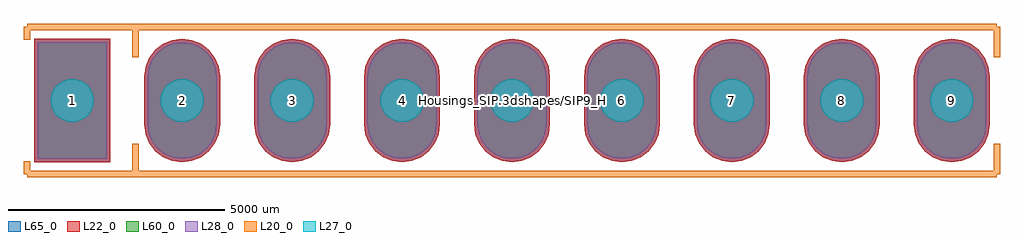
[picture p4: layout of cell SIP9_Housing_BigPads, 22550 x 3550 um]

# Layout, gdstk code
import gdstk
lib = gdstk.Library(unit=1e-6, precision=1e-09)
def R(c, l, rs):  # rectangles x0, y0, x1, y1
    for r in rs: c.add(gdstk.rectangle(r[:2], r[2:], *l))
def P(c, l, *ps):  # polygons
    for p in ps: c.add(gdstk.Polygon(p, *l))
L20_0 = (20, 0)
L22_0 = (22, 0)
L27_0 = (27, 0)
L28_0 = (28, 0)
L60_0 = (60, 0)
L65_0 = (65, 0)

sip9_housing_bigpads = lib.new_cell('SIP9_Housing_BigPads')
R(sip9_housing_bigpads, L22_0, [(-11035,-1425,-9285,1425)])
P(sip9_housing_bigpads, L22_0, [(10160,-1425),(10386.467,-1395.185),(10597.5,-1307.772),(10778.718,-1168.718),(10917.772,-987.5),(11005.185,-776.467),(11035,-550),(11035,550),(11005.185,776.467),(10917.772,987.5),(10778.718,1168.718),(10597.5,1307.772),(10386.467,1395.185),(10160,1425),(9933.533,1395.185),(9722.5,1307.772),(9541.282,1168.718),(9402.228,987.5),(9314.815,776.467),(9285,550),(9285,-550),(9314.815,-776.467),(9402.228,-987.5),(9541.282,-1168.718),(9722.5,-1307.772),(9933.533,-1395.185)],
  [(7620,-1425),(7846.467,-1395.185),(8057.5,-1307.772),(8238.718,-1168.718),(8377.772,-987.5),(8465.185,-776.467),(8495,-550),(8495,550),(8465.185,776.467),(8377.772,987.5),(8238.718,1168.718),(8057.5,1307.772),(7846.467,1395.185),(7620,1425),(7393.533,1395.185),(7182.5,1307.772),(7001.282,1168.718),(6862.228,987.5),(6774.815,776.467),(6745,550),(6745,-550),(6774.815,-776.467),(6862.228,-987.5),(7001.282,-1168.718),(7182.5,-1307.772),(7393.533,-1395.185)],
  [(5080,-1425),(5306.467,-1395.185),(5517.5,-1307.772),(5698.718,-1168.718),(5837.772,-987.5),(5925.185,-776.467),(5955,-550),(5955,550),(5925.185,776.467),(5837.772,987.5),(5698.718,1168.718),(5517.5,1307.772),(5306.467,1395.185),(5080,1425),(4853.533,1395.185),(4642.5,1307.772),(4461.282,1168.718),(4322.228,987.5),(4234.815,776.467),(4205,550),(4205,-550),(4234.815,-776.467),(4322.228,-987.5),(4461.282,-1168.718),(4642.5,-1307.772),(4853.533,-1395.185)],
  [(2540,-1425),(2766.467,-1395.185),(2977.5,-1307.772),(3158.718,-1168.718),(3297.772,-987.5),(3385.185,-776.467),(3415,-550),(3415,550),(3385.185,776.467),(3297.772,987.5),(3158.718,1168.718),(2977.5,1307.772),(2766.467,1395.185),(2540,1425),(2313.533,1395.185),(2102.5,1307.772),(1921.282,1168.718),(1782.228,987.5),(1694.815,776.467),(1665,550),(1665,-550),(1694.815,-776.467),(1782.228,-987.5),(1921.282,-1168.718),(2102.5,-1307.772),(2313.533,-1395.185)],
  [(0,-1425),(226.467,-1395.185),(437.5,-1307.772),(618.718,-1168.718),(757.772,-987.5),(845.185,-776.467),(875,-550),(875,550),(845.185,776.467),(757.772,987.5),(618.718,1168.718),(437.5,1307.772),(226.467,1395.185),(0,1425),(-226.467,1395.185),(-437.5,1307.772),(-618.718,1168.718),(-757.772,987.5),(-845.185,776.467),(-875,550),(-875,-550),(-845.185,-776.467),(-757.772,-987.5),(-618.718,-1168.718),(-437.5,-1307.772),(-226.467,-1395.185)],
  [(-2540,-1425),(-2313.533,-1395.185),(-2102.5,-1307.772),(-1921.282,-1168.718),(-1782.228,-987.5),(-1694.815,-776.467),(-1665,-550),(-1665,550),(-1694.815,776.467),(-1782.228,987.5),(-1921.282,1168.718),(-2102.5,1307.772),(-2313.533,1395.185),(-2540,1425),(-2766.467,1395.185),(-2977.5,1307.772),(-3158.718,1168.718),(-3297.772,987.5),(-3385.185,776.467),(-3415,550),(-3415,-550),(-3385.185,-776.467),(-3297.772,-987.5),(-3158.718,-1168.718),(-2977.5,-1307.772),(-2766.467,-1395.185)],
  [(-5080,-1425),(-4853.533,-1395.185),(-4642.5,-1307.772),(-4461.282,-1168.718),(-4322.228,-987.5),(-4234.815,-776.467),(-4205,-550),(-4205,550),(-4234.815,776.467),(-4322.228,987.5),(-4461.282,1168.718),(-4642.5,1307.772),(-4853.533,1395.185),(-5080,1425),(-5306.467,1395.185),(-5517.5,1307.772),(-5698.718,1168.718),(-5837.772,987.5),(-5925.185,776.467),(-5955,550),(-5955,-550),(-5925.185,-776.467),(-5837.772,-987.5),(-5698.718,-1168.718),(-5517.5,-1307.772),(-5306.467,-1395.185)],
  [(-7620,-1425),(-7393.533,-1395.185),(-7182.5,-1307.772),(-7001.282,-1168.718),(-6862.228,-987.5),(-6774.815,-776.467),(-6745,-550),(-6745,550),(-6774.815,776.467),(-6862.228,987.5),(-7001.282,1168.718),(-7182.5,1307.772),(-7393.533,1395.185),(-7620,1425),(-7846.467,1395.185),(-8057.5,1307.772),(-8238.718,1168.718),(-8377.772,987.5),(-8465.185,776.467),(-8495,550),(-8495,-550),(-8465.185,-776.467),(-8377.772,-987.5),(-8238.718,-1168.718),(-8057.5,-1307.772),(-7846.467,-1395.185)])
P(sip9_housing_bigpads, L27_0, [(10659.999,0),(10650.392,97.545),(10621.939,191.341),(10575.734,277.785),(10513.553,353.553),(10437.785,415.734),(10351.341,461.939),(10257.545,490.392),(10160,499.999),(10062.455,490.392),(9968.659,461.939),(9882.215,415.734),(9806.447,353.553),(9744.266,277.785),(9698.061,191.341),(9669.608,97.545),(9660.001,0),(9669.608,-97.545),(9698.061,-191.341),(9744.266,-277.785),(9806.447,-353.553),(9882.215,-415.734),(9968.659,-461.939),(10062.455,-490.392),(10160,-499.999),(10257.545,-490.392),(10351.341,-461.939),(10437.785,-415.734),(10513.553,-353.553),(10575.734,-277.785),(10621.939,-191.341),(10650.392,-97.545)],
  [(8119.999,0),(8110.392,97.545),(8081.939,191.341),(8035.734,277.785),(7973.553,353.553),(7897.785,415.734),(7811.341,461.939),(7717.545,490.392),(7620,499.999),(7522.455,490.392),(7428.659,461.939),(7342.215,415.734),(7266.447,353.553),(7204.266,277.785),(7158.061,191.341),(7129.608,97.545),(7120.001,0),(7129.608,-97.545),(7158.061,-191.341),(7204.266,-277.785),(7266.447,-353.553),(7342.215,-415.734),(7428.659,-461.939),(7522.455,-490.392),(7620,-499.999),(7717.545,-490.392),(7811.341,-461.939),(7897.785,-415.734),(7973.553,-353.553),(8035.734,-277.785),(8081.939,-191.341),(8110.392,-97.545)],
  [(5579.999,0),(5570.392,97.545),(5541.939,191.341),(5495.734,277.785),(5433.553,353.553),(5357.785,415.734),(5271.341,461.939),(5177.545,490.392),(5080,499.999),(4982.455,490.392),(4888.659,461.939),(4802.215,415.734),(4726.447,353.553),(4664.266,277.785),(4618.061,191.341),(4589.608,97.545),(4580.001,0),(4589.608,-97.545),(4618.061,-191.341),(4664.266,-277.785),(4726.447,-353.553),(4802.215,-415.734),(4888.659,-461.939),(4982.455,-490.392),(5080,-499.999),(5177.545,-490.392),(5271.341,-461.939),(5357.785,-415.734),(5433.553,-353.553),(5495.734,-277.785),(5541.939,-191.341),(5570.392,-97.545)],
  [(3039.999,0),(3030.392,97.545),(3001.939,191.341),(2955.734,277.785),(2893.553,353.553),(2817.785,415.734),(2731.341,461.939),(2637.545,490.392),(2540,499.999),(2442.455,490.392),(2348.659,461.939),(2262.215,415.734),(2186.447,353.553),(2124.266,277.785),(2078.061,191.341),(2049.608,97.545),(2040.001,0),(2049.608,-97.545),(2078.061,-191.341),(2124.266,-277.785),(2186.447,-353.553),(2262.215,-415.734),(2348.659,-461.939),(2442.455,-490.392),(2540,-499.999),(2637.545,-490.392),(2731.341,-461.939),(2817.785,-415.734),(2893.553,-353.553),(2955.734,-277.785),(3001.939,-191.341),(3030.392,-97.545)],
  [(499.999,0),(490.392,97.545),(461.939,191.341),(415.734,277.785),(353.553,353.553),(277.785,415.734),(191.341,461.939),(97.545,490.392),(0,499.999),(-97.545,490.392),(-191.341,461.939),(-277.785,415.734),(-353.553,353.553),(-415.734,277.785),(-461.939,191.341),(-490.392,97.545),(-499.999,0),(-490.392,-97.545),(-461.939,-191.341),(-415.734,-277.785),(-353.553,-353.553),(-277.785,-415.734),(-191.341,-461.939),(-97.545,-490.392),(0,-499.999),(97.545,-490.392),(191.341,-461.939),(277.785,-415.734),(353.553,-353.553),(415.734,-277.785),(461.939,-191.341),(490.392,-97.545)],
  [(-2040.001,0),(-2049.608,97.545),(-2078.061,191.341),(-2124.266,277.785),(-2186.447,353.553),(-2262.215,415.734),(-2348.659,461.939),(-2442.455,490.392),(-2540,499.999),(-2637.545,490.392),(-2731.341,461.939),(-2817.785,415.734),(-2893.553,353.553),(-2955.734,277.785),(-3001.939,191.341),(-3030.392,97.545),(-3039.999,0),(-3030.392,-97.545),(-3001.939,-191.341),(-2955.734,-277.785),(-2893.553,-353.553),(-2817.785,-415.734),(-2731.341,-461.939),(-2637.545,-490.392),(-2540,-499.999),(-2442.455,-490.392),(-2348.659,-461.939),(-2262.215,-415.734),(-2186.447,-353.553),(-2124.266,-277.785),(-2078.061,-191.341),(-2049.608,-97.545)],
  [(-4580.001,0),(-4589.608,97.545),(-4618.061,191.341),(-4664.266,277.785),(-4726.447,353.553),(-4802.215,415.734),(-4888.659,461.939),(-4982.455,490.392),(-5080,499.999),(-5177.545,490.392),(-5271.341,461.939),(-5357.785,415.734),(-5433.553,353.553),(-5495.734,277.785),(-5541.939,191.341),(-5570.392,97.545),(-5579.999,0),(-5570.392,-97.545),(-5541.939,-191.341),(-5495.734,-277.785),(-5433.553,-353.553),(-5357.785,-415.734),(-5271.341,-461.939),(-5177.545,-490.392),(-5080,-499.999),(-4982.455,-490.392),(-4888.659,-461.939),(-4802.215,-415.734),(-4726.447,-353.553),(-4664.266,-277.785),(-4618.061,-191.341),(-4589.608,-97.545)],
  [(-7120.001,0),(-7129.608,97.545),(-7158.061,191.341),(-7204.266,277.785),(-7266.447,353.553),(-7342.215,415.734),(-7428.659,461.939),(-7522.455,490.392),(-7620,499.999),(-7717.545,490.392),(-7811.341,461.939),(-7897.785,415.734),(-7973.553,353.553),(-8035.734,277.785),(-8081.939,191.341),(-8110.392,97.545),(-8119.999,0),(-8110.392,-97.545),(-8081.939,-191.341),(-8035.734,-277.785),(-7973.553,-353.553),(-7897.785,-415.734),(-7811.341,-461.939),(-7717.545,-490.392),(-7620,-499.999),(-7522.455,-490.392),(-7428.659,-461.939),(-7342.215,-415.734),(-7266.447,-353.553),(-7204.266,-277.785),(-7158.061,-191.341),(-7129.608,-97.545)],
  [(-9660.001,0),(-9669.608,97.545),(-9698.061,191.341),(-9744.266,277.785),(-9806.447,353.553),(-9882.215,415.734),(-9968.659,461.939),(-10062.455,490.392),(-10160,499.999),(-10257.545,490.392),(-10351.341,461.939),(-10437.785,415.734),(-10513.553,353.553),(-10575.734,277.785),(-10621.939,191.341),(-10650.392,97.545),(-10659.999,0),(-10650.392,-97.545),(-10621.939,-191.341),(-10575.734,-277.785),(-10513.553,-353.553),(-10437.785,-415.734),(-10351.341,-461.939),(-10257.545,-490.392),(-10160,-499.999),(-10062.455,-490.392),(-9968.659,-461.939),(-9882.215,-415.734),(-9806.447,-353.553),(-9744.266,-277.785),(-9698.061,-191.341),(-9669.608,-97.545)])
R(sip9_housing_bigpads, L28_0, [(-10960,-1350,-9360,1350)])
P(sip9_housing_bigpads, L28_0, [(10160,-1350),(10367.055,-1322.741),(10560,-1242.82),(10725.685,-1115.685),(10852.82,-950),(10932.741,-757.055),(10960,-550),(10960,550),(10932.741,757.055),(10852.82,950),(10725.685,1115.685),(10560,1242.82),(10367.055,1322.741),(10160,1350),(9952.945,1322.741),(9760,1242.82),(9594.315,1115.685),(9467.18,950),(9387.259,757.055),(9360,550),(9360,-550),(9387.259,-757.055),(9467.18,-950),(9594.315,-1115.685),(9760,-1242.82),(9952.945,-1322.741)],
  [(7620,-1350),(7827.055,-1322.741),(8020,-1242.82),(8185.685,-1115.685),(8312.82,-950),(8392.741,-757.055),(8420,-550),(8420,550),(8392.741,757.055),(8312.82,950),(8185.685,1115.685),(8020,1242.82),(7827.055,1322.741),(7620,1350),(7412.945,1322.741),(7220,1242.82),(7054.315,1115.685),(6927.18,950),(6847.259,757.055),(6820,550),(6820,-550),(6847.259,-757.055),(6927.18,-950),(7054.315,-1115.685),(7220,-1242.82),(7412.945,-1322.741)],
  [(5080,-1350),(5287.055,-1322.741),(5480,-1242.82),(5645.685,-1115.685),(5772.82,-950),(5852.741,-757.055),(5880,-550),(5880,550),(5852.741,757.055),(5772.82,950),(5645.685,1115.685),(5480,1242.82),(5287.055,1322.741),(5080,1350),(4872.945,1322.741),(4680,1242.82),(4514.315,1115.685),(4387.18,950),(4307.259,757.055),(4280,550),(4280,-550),(4307.259,-757.055),(4387.18,-950),(4514.315,-1115.685),(4680,-1242.82),(4872.945,-1322.741)],
  [(2540,-1350),(2747.055,-1322.741),(2940,-1242.82),(3105.685,-1115.685),(3232.82,-950),(3312.741,-757.055),(3340,-550),(3340,550),(3312.741,757.055),(3232.82,950),(3105.685,1115.685),(2940,1242.82),(2747.055,1322.741),(2540,1350),(2332.945,1322.741),(2140,1242.82),(1974.315,1115.685),(1847.18,950),(1767.259,757.055),(1740,550),(1740,-550),(1767.259,-757.055),(1847.18,-950),(1974.315,-1115.685),(2140,-1242.82),(2332.945,-1322.741)],
  [(0,-1350),(207.055,-1322.741),(400,-1242.82),(565.685,-1115.685),(692.82,-950),(772.741,-757.055),(800,-550),(800,550),(772.741,757.055),(692.82,950),(565.685,1115.685),(400,1242.82),(207.055,1322.741),(0,1350),(-207.055,1322.741),(-400,1242.82),(-565.685,1115.685),(-692.82,950),(-772.741,757.055),(-800,550),(-800,-550),(-772.741,-757.055),(-692.82,-950),(-565.685,-1115.685),(-400,-1242.82),(-207.055,-1322.741)],
  [(-2540,-1350),(-2332.945,-1322.741),(-2140,-1242.82),(-1974.315,-1115.685),(-1847.18,-950),(-1767.259,-757.055),(-1740,-550),(-1740,550),(-1767.259,757.055),(-1847.18,950),(-1974.315,1115.685),(-2140,1242.82),(-2332.945,1322.741),(-2540,1350),(-2747.055,1322.741),(-2940,1242.82),(-3105.685,1115.685),(-3232.82,950),(-3312.741,757.055),(-3340,550),(-3340,-550),(-3312.741,-757.055),(-3232.82,-950),(-3105.685,-1115.685),(-2940,-1242.82),(-2747.055,-1322.741)],
  [(-5080,-1350),(-4872.945,-1322.741),(-4680,-1242.82),(-4514.315,-1115.685),(-4387.18,-950),(-4307.259,-757.055),(-4280,-550),(-4280,550),(-4307.259,757.055),(-4387.18,950),(-4514.315,1115.685),(-4680,1242.82),(-4872.945,1322.741),(-5080,1350),(-5287.055,1322.741),(-5480,1242.82),(-5645.685,1115.685),(-5772.82,950),(-5852.741,757.055),(-5880,550),(-5880,-550),(-5852.741,-757.055),(-5772.82,-950),(-5645.685,-1115.685),(-5480,-1242.82),(-5287.055,-1322.741)],
  [(-7620,-1350),(-7412.945,-1322.741),(-7220,-1242.82),(-7054.315,-1115.685),(-6927.18,-950),(-6847.259,-757.055),(-6820,-550),(-6820,550),(-6847.259,757.055),(-6927.18,950),(-7054.315,1115.685),(-7220,1242.82),(-7412.945,1322.741),(-7620,1350),(-7827.055,1322.741),(-8020,1242.82),(-8185.685,1115.685),(-8312.82,950),(-8392.741,757.055),(-8420,550),(-8420,-550),(-8392.741,-757.055),(-8312.82,-950),(-8185.685,-1115.685),(-8020,-1242.82),(-7827.055,-1322.741)])
R(sip9_housing_bigpads, L60_0, [(-10960,-1350,-9360,1350)])
P(sip9_housing_bigpads, L60_0, [(10160,-1350),(10367.055,-1322.741),(10560,-1242.82),(10725.685,-1115.685),(10852.82,-950),(10932.741,-757.055),(10960,-550),(10960,550),(10932.741,757.055),(10852.82,950),(10725.685,1115.685),(10560,1242.82),(10367.055,1322.741),(10160,1350),(9952.945,1322.741),(9760,1242.82),(9594.315,1115.685),(9467.18,950),(9387.259,757.055),(9360,550),(9360,-550),(9387.259,-757.055),(9467.18,-950),(9594.315,-1115.685),(9760,-1242.82),(9952.945,-1322.741)],
  [(7620,-1350),(7827.055,-1322.741),(8020,-1242.82),(8185.685,-1115.685),(8312.82,-950),(8392.741,-757.055),(8420,-550),(8420,550),(8392.741,757.055),(8312.82,950),(8185.685,1115.685),(8020,1242.82),(7827.055,1322.741),(7620,1350),(7412.945,1322.741),(7220,1242.82),(7054.315,1115.685),(6927.18,950),(6847.259,757.055),(6820,550),(6820,-550),(6847.259,-757.055),(6927.18,-950),(7054.315,-1115.685),(7220,-1242.82),(7412.945,-1322.741)],
  [(5080,-1350),(5287.055,-1322.741),(5480,-1242.82),(5645.685,-1115.685),(5772.82,-950),(5852.741,-757.055),(5880,-550),(5880,550),(5852.741,757.055),(5772.82,950),(5645.685,1115.685),(5480,1242.82),(5287.055,1322.741),(5080,1350),(4872.945,1322.741),(4680,1242.82),(4514.315,1115.685),(4387.18,950),(4307.259,757.055),(4280,550),(4280,-550),(4307.259,-757.055),(4387.18,-950),(4514.315,-1115.685),(4680,-1242.82),(4872.945,-1322.741)],
  [(2540,-1350),(2747.055,-1322.741),(2940,-1242.82),(3105.685,-1115.685),(3232.82,-950),(3312.741,-757.055),(3340,-550),(3340,550),(3312.741,757.055),(3232.82,950),(3105.685,1115.685),(2940,1242.82),(2747.055,1322.741),(2540,1350),(2332.945,1322.741),(2140,1242.82),(1974.315,1115.685),(1847.18,950),(1767.259,757.055),(1740,550),(1740,-550),(1767.259,-757.055),(1847.18,-950),(1974.315,-1115.685),(2140,-1242.82),(2332.945,-1322.741)],
  [(0,-1350),(207.055,-1322.741),(400,-1242.82),(565.685,-1115.685),(692.82,-950),(772.741,-757.055),(800,-550),(800,550),(772.741,757.055),(692.82,950),(565.685,1115.685),(400,1242.82),(207.055,1322.741),(0,1350),(-207.055,1322.741),(-400,1242.82),(-565.685,1115.685),(-692.82,950),(-772.741,757.055),(-800,550),(-800,-550),(-772.741,-757.055),(-692.82,-950),(-565.685,-1115.685),(-400,-1242.82),(-207.055,-1322.741)],
  [(-2540,-1350),(-2332.945,-1322.741),(-2140,-1242.82),(-1974.315,-1115.685),(-1847.18,-950),(-1767.259,-757.055),(-1740,-550),(-1740,550),(-1767.259,757.055),(-1847.18,950),(-1974.315,1115.685),(-2140,1242.82),(-2332.945,1322.741),(-2540,1350),(-2747.055,1322.741),(-2940,1242.82),(-3105.685,1115.685),(-3232.82,950),(-3312.741,757.055),(-3340,550),(-3340,-550),(-3312.741,-757.055),(-3232.82,-950),(-3105.685,-1115.685),(-2940,-1242.82),(-2747.055,-1322.741)],
  [(-5080,-1350),(-4872.945,-1322.741),(-4680,-1242.82),(-4514.315,-1115.685),(-4387.18,-950),(-4307.259,-757.055),(-4280,-550),(-4280,550),(-4307.259,757.055),(-4387.18,950),(-4514.315,1115.685),(-4680,1242.82),(-4872.945,1322.741),(-5080,1350),(-5287.055,1322.741),(-5480,1242.82),(-5645.685,1115.685),(-5772.82,950),(-5852.741,757.055),(-5880,550),(-5880,-550),(-5852.741,-757.055),(-5772.82,-950),(-5645.685,-1115.685),(-5480,-1242.82),(-5287.055,-1322.741)],
  [(-7620,-1350),(-7412.945,-1322.741),(-7220,-1242.82),(-7054.315,-1115.685),(-6927.18,-950),(-6847.259,-757.055),(-6820,-550),(-6820,550),(-6847.259,757.055),(-6927.18,950),(-7054.315,1115.685),(-7220,1242.82),(-7412.945,1322.741),(-7620,1350),(-7827.055,1322.741),(-8020,1242.82),(-8185.685,1115.685),(-8312.82,950),(-8392.741,757.055),(-8420,550),(-8420,-550),(-8392.741,-757.055),(-8312.82,-950),(-8185.685,-1115.685),(-8020,-1242.82),(-7827.055,-1322.741)])
R(sip9_housing_bigpads, L65_0, [(-11035,-1425,-9285,1425)])
P(sip9_housing_bigpads, L65_0, [(10160,-1425),(10386.467,-1395.185),(10597.5,-1307.772),(10778.718,-1168.718),(10917.772,-987.5),(11005.185,-776.467),(11035,-550),(11035,550),(11005.185,776.467),(10917.772,987.5),(10778.718,1168.718),(10597.5,1307.772),(10386.467,1395.185),(10160,1425),(9933.533,1395.185),(9722.5,1307.772),(9541.282,1168.718),(9402.228,987.5),(9314.815,776.467),(9285,550),(9285,-550),(9314.815,-776.467),(9402.228,-987.5),(9541.282,-1168.718),(9722.5,-1307.772),(9933.533,-1395.185)],
  [(7620,-1425),(7846.467,-1395.185),(8057.5,-1307.772),(8238.718,-1168.718),(8377.772,-987.5),(8465.185,-776.467),(8495,-550),(8495,550),(8465.185,776.467),(8377.772,987.5),(8238.718,1168.718),(8057.5,1307.772),(7846.467,1395.185),(7620,1425),(7393.533,1395.185),(7182.5,1307.772),(7001.282,1168.718),(6862.228,987.5),(6774.815,776.467),(6745,550),(6745,-550),(6774.815,-776.467),(6862.228,-987.5),(7001.282,-1168.718),(7182.5,-1307.772),(7393.533,-1395.185)],
  [(5080,-1425),(5306.467,-1395.185),(5517.5,-1307.772),(5698.718,-1168.718),(5837.772,-987.5),(5925.185,-776.467),(5955,-550),(5955,550),(5925.185,776.467),(5837.772,987.5),(5698.718,1168.718),(5517.5,1307.772),(5306.467,1395.185),(5080,1425),(4853.533,1395.185),(4642.5,1307.772),(4461.282,1168.718),(4322.228,987.5),(4234.815,776.467),(4205,550),(4205,-550),(4234.815,-776.467),(4322.228,-987.5),(4461.282,-1168.718),(4642.5,-1307.772),(4853.533,-1395.185)],
  [(2540,-1425),(2766.467,-1395.185),(2977.5,-1307.772),(3158.718,-1168.718),(3297.772,-987.5),(3385.185,-776.467),(3415,-550),(3415,550),(3385.185,776.467),(3297.772,987.5),(3158.718,1168.718),(2977.5,1307.772),(2766.467,1395.185),(2540,1425),(2313.533,1395.185),(2102.5,1307.772),(1921.282,1168.718),(1782.228,987.5),(1694.815,776.467),(1665,550),(1665,-550),(1694.815,-776.467),(1782.228,-987.5),(1921.282,-1168.718),(2102.5,-1307.772),(2313.533,-1395.185)],
  [(0,-1425),(226.467,-1395.185),(437.5,-1307.772),(618.718,-1168.718),(757.772,-987.5),(845.185,-776.467),(875,-550),(875,550),(845.185,776.467),(757.772,987.5),(618.718,1168.718),(437.5,1307.772),(226.467,1395.185),(0,1425),(-226.467,1395.185),(-437.5,1307.772),(-618.718,1168.718),(-757.772,987.5),(-845.185,776.467),(-875,550),(-875,-550),(-845.185,-776.467),(-757.772,-987.5),(-618.718,-1168.718),(-437.5,-1307.772),(-226.467,-1395.185)],
  [(-2540,-1425),(-2313.533,-1395.185),(-2102.5,-1307.772),(-1921.282,-1168.718),(-1782.228,-987.5),(-1694.815,-776.467),(-1665,-550),(-1665,550),(-1694.815,776.467),(-1782.228,987.5),(-1921.282,1168.718),(-2102.5,1307.772),(-2313.533,1395.185),(-2540,1425),(-2766.467,1395.185),(-2977.5,1307.772),(-3158.718,1168.718),(-3297.772,987.5),(-3385.185,776.467),(-3415,550),(-3415,-550),(-3385.185,-776.467),(-3297.772,-987.5),(-3158.718,-1168.718),(-2977.5,-1307.772),(-2766.467,-1395.185)],
  [(-5080,-1425),(-4853.533,-1395.185),(-4642.5,-1307.772),(-4461.282,-1168.718),(-4322.228,-987.5),(-4234.815,-776.467),(-4205,-550),(-4205,550),(-4234.815,776.467),(-4322.228,987.5),(-4461.282,1168.718),(-4642.5,1307.772),(-4853.533,1395.185),(-5080,1425),(-5306.467,1395.185),(-5517.5,1307.772),(-5698.718,1168.718),(-5837.772,987.5),(-5925.185,776.467),(-5955,550),(-5955,-550),(-5925.185,-776.467),(-5837.772,-987.5),(-5698.718,-1168.718),(-5517.5,-1307.772),(-5306.467,-1395.185)],
  [(-7620,-1425),(-7393.533,-1395.185),(-7182.5,-1307.772),(-7001.282,-1168.718),(-6862.228,-987.5),(-6774.815,-776.467),(-6745,-550),(-6745,550),(-6774.815,776.467),(-6862.228,987.5),(-7001.282,1168.718),(-7182.5,1307.772),(-7393.533,1395.185),(-7620,1425),(-7846.467,1395.185),(-8057.5,1307.772),(-8238.718,1168.718),(-8377.772,987.5),(-8465.185,776.467),(-8495,550),(-8495,-550),(-8465.185,-776.467),(-8377.772,-987.5),(-8238.718,-1168.718),(-8057.5,-1307.772),(-7846.467,-1395.185)])
sip9_housing_bigpads.add(gdstk.FlexPath([(11200,1700),(11200,1100)], 149.998, ends="flush", simple_path=True, layer=20, datatype=0))  # L20_0
sip9_housing_bigpads.add(gdstk.FlexPath([(0,1700),(11200,1700)], 149.998, ends="flush", simple_path=True, layer=20, datatype=0))  # L20_0
sip9_housing_bigpads.add(gdstk.FlexPath([(-11200,1700),(-11200,1400)], 149.998, ends="flush", simple_path=True, layer=20, datatype=0))  # L20_0
sip9_housing_bigpads.add(gdstk.FlexPath([(100,1700),(-11200,1700)], 149.998, ends="flush", simple_path=True, layer=20, datatype=0))  # L20_0
sip9_housing_bigpads.add(gdstk.FlexPath([(11200,-1700),(11200,-1000)], 149.998, ends="flush", simple_path=True, layer=20, datatype=0))  # L20_0
sip9_housing_bigpads.add(gdstk.FlexPath([(0,-1700),(11200,-1700)], 149.998, ends="flush", simple_path=True, layer=20, datatype=0))  # L20_0
sip9_housing_bigpads.add(gdstk.FlexPath([(11200,1200),(11200,1000)], 149.998, ends="flush", simple_path=True, layer=20, datatype=0))  # L20_0
sip9_housing_bigpads.add(gdstk.FlexPath([(-11200,-1700),(-11200,-1400)], 149.998, ends="flush", simple_path=True, layer=20, datatype=0))  # L20_0
sip9_housing_bigpads.add(gdstk.FlexPath([(0,-1700),(-11200,-1700)], 149.998, ends="flush", simple_path=True, layer=20, datatype=0))  # L20_0
sip9_housing_bigpads.add(gdstk.FlexPath([(-8700,1700),(-8700,1000)], 149.998, ends="flush", simple_path=True, layer=20, datatype=0))  # L20_0
sip9_housing_bigpads.add(gdstk.FlexPath([(-8700,-1700),(-8700,-1000)], 149.998, ends="flush", simple_path=True, layer=20, datatype=0))  # L20_0
sip9_housing_bigpads.add(gdstk.Label('Housings_SIP.3dshapes/SIP9_Housing_BigPads.wrl', (0,0), layer=12, texttype=0))
sip9_housing_bigpads.add(gdstk.Label('9', (10160,0), layer=28, texttype=0))
sip9_housing_bigpads.add(gdstk.Label('8', (7620,0), layer=28, texttype=0))
sip9_housing_bigpads.add(gdstk.Label('7', (5080,0), layer=28, texttype=0))
sip9_housing_bigpads.add(gdstk.Label('6', (2540,0), layer=28, texttype=0))
sip9_housing_bigpads.add(gdstk.Label('5', (0,0), layer=28, texttype=0))
sip9_housing_bigpads.add(gdstk.Label('4', (-2540,0), layer=28, texttype=0))
sip9_housing_bigpads.add(gdstk.Label('3', (-5080,0), layer=28, texttype=0))
sip9_housing_bigpads.add(gdstk.Label('2', (-7620,0), layer=28, texttype=0))
sip9_housing_bigpads.add(gdstk.Label('1', (-10160,0), layer=28, texttype=0))
sip9_housing_bigpads.add(gdstk.Label('type', (-100,-3700), layer=9, texttype=0))
sip9_housing_bigpads.add(gdstk.Label('devicename', (0,3600), layer=9, texttype=0))

lib.write_gds('SIP9_Housing_BigPads.gds')
